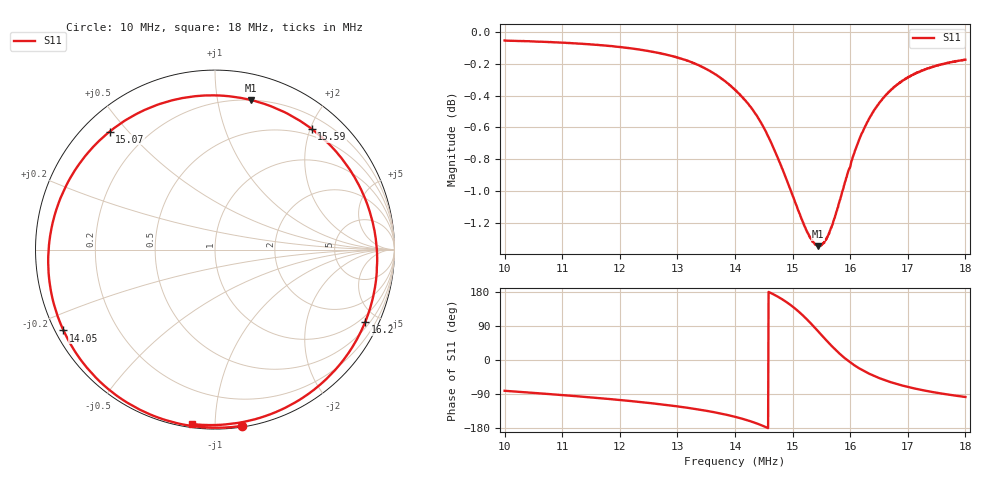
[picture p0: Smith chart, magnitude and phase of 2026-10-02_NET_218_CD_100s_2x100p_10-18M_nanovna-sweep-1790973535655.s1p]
! NanoVNA Web complex sweep
! Processing: unaveraged complex samples; linear segment spacing; no smoothing
# Hz S RI R 50
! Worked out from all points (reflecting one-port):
!   1010 points, 10 MHz to 18 MHz, reference 50 ohm
!   lowest |S11| = -1.3 dB at 15.44 MHz (marker M1), VSWR 12.95, Z = 9.99 + j62.5 ohm
!   phase of S11 starts at -81 deg and turns -376 deg over the sweep
!   S11 on the Smith chart (normalised r, x): 10 MHz: 0.01, -1.17; 14.05 MHz: 0.02, -0.25; 15.07 MHz: 0.08, +0.45; 15.59 MHz: 0.39, +2.02; 16.2 MHz: 0.72, -4.25; 18 MHz: 0.02, -0.88
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1e7  0.1508 -0.9822
1.100698e7  -0.0455 -0.9911
1.200604e7  -0.2662 -0.9525
1.300509e7  -0.5273 -0.8277
1.355219e7  -0.6918 -0.6831
1.400414e7  -0.8307 -0.4791
1.405172e7  -0.8441 -0.4507
1.435302e7  -0.9148 -0.2275
1.463054e7  -0.9208 0.0615
1.482876e7  -0.8469 0.3194
1.50032e7  -0.6868 0.5632
1.507456e7  -0.5874 0.6573
1.518557e7  -0.3899 0.7792
1.527278e7  -0.2018 0.8404
1.536e7  0.00573 0.859
1.543929e7  0.2005 0.8328
1.558994e7  0.538 0.6722
1.568509e7  0.7029 0.512
1.578817e7  0.8238 0.312
1.589125e7  0.8885 0.1062
1.600225e7  0.9016 -0.101
1.620048e7  0.8364 -0.4049
1.636699e7  0.7331 -0.5909
1.654935e7  0.6065 -0.7336
1.675551e7  0.466 -0.8399
1.700131e7  0.3136 -0.9152
1.748498e7  0.0686 -0.9732
1.800036e7  -0.1299 -0.9714
